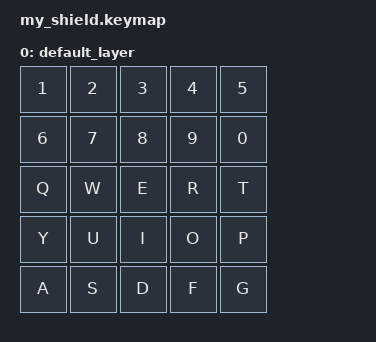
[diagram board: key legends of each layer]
/ {
    keymap {
        compatible = "zmk,keymap";
        default_layer {
            bindings = <
                &kp N1 &kp N2 &kp N3 &kp N4 &kp N5
                &kp N6 &kp N7 &kp N8 &kp N9 &kp N0
                &kp Q   &kp W   &kp E   &kp R   &kp T
                &kp Y   &kp U   &kp I   &kp O   &kp P
                &kp A   &kp S   &kp D   &kp F   &kp G
            >;
        };
    };
};
